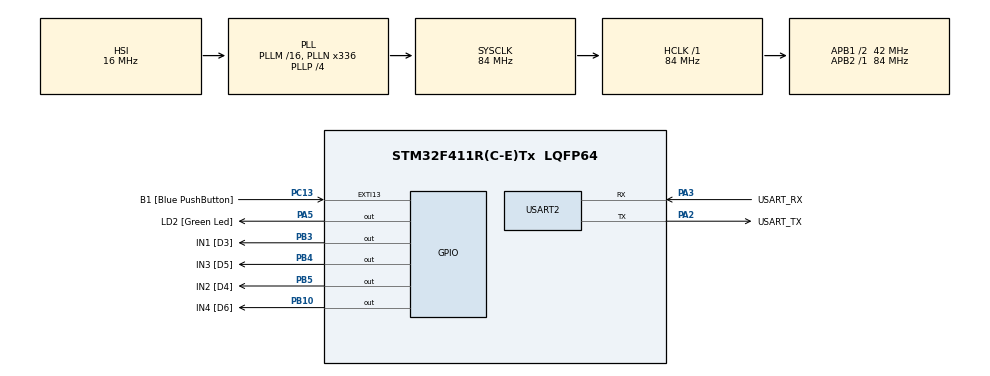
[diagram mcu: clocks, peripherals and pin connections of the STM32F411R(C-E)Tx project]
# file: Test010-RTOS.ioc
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FREERTOS.Tasks01=myTask01,0,128,StartmyTask01,Default,NULL,Dynamic,NULL,NULL;myTask02,-3,128,StartmyTask02,Default,NULL,Dynamic,NULL,NULL
FREERTOS.configUSE_NEWLIB_REENTRANT=1
Mcu.Family=STM32F4
Mcu.Name=STM32F411R(C-E)Tx
Mcu.Package=LQFP64
NVIC.EXTI15_10_IRQn=true\:5\:0\:false\:false\:true\:true\:true\:true\:true
NVIC.PriorityGroup=NVIC_PRIORITYGROUP_4
NVIC.TIM1_UP_TIM10_IRQn=true\:15\:0\:false\:false\:true\:false\:false\:true\:true
NVIC.TimeBase=TIM1_UP_TIM10_IRQn
NVIC.TimeBaseIP=TIM10
PA13.GPIO_Label=TMS
PA13.Mode=Serial_Wire
PA13.Signal=SYS_JTMS-SWDIO
PA14.GPIO_Label=TCK
PA14.Mode=Serial_Wire
PA14.Signal=SYS_JTCK-SWCLK
PA2.GPIO_Label=USART_TX
PA2.Mode=Asynchronous
PA2.Signal=USART2_TX
PA3.GPIO_Label=USART_RX
PA3.Mode=Asynchronous
PA3.Signal=USART2_RX
PA5.GPIO_Label=LD2 [Green Led]
PA5.Signal=GPIO_Output
PB10.GPIO_Label=IN4 [D6]
PB10.Signal=GPIO_Output
PB3.GPIO_Label=IN1 [D3]
PB3.Signal=GPIO_Output
PB4.GPIO_Label=IN3 [D5]
PB4.Signal=GPIO_Output
PB5.GPIO_Label=IN2 [D4]
PB5.Signal=GPIO_Output
PC13-ANTI_TAMP.GPIO_Label=B1 [Blue PushButton]
PC13-ANTI_TAMP.GPIO_ModeDefaultEXTI=GPIO_MODE_IT_FALLING
PC13-ANTI_TAMP.Signal=GPXTI13
PC14-OSC32_IN.Mode=LSE-External-Oscillator
PC14-OSC32_IN.Signal=RCC_OSC32_IN
PC15-OSC32_OUT.Mode=LSE-External-Oscillator
PC15-OSC32_OUT.Signal=RCC_OSC32_OUT
PH0\ -\ OSC_IN.Mode=HSE-External-Clock-Source
PH0\ -\ OSC_IN.Signal=RCC_OSC_IN
PH1\ -\ OSC_OUT.Mode=HSE-External-Clock-Source
PH1\ -\ OSC_OUT.Signal=RCC_OSC_OUT
ProjectManager.HeapSize=0x200
ProjectManager.StackSize=0x400
ProjectManager.TargetToolchain=STM32CubeIDE
RCC.48MHZClocksFreq_Value=84000000
RCC.AHBFreq_Value=84000000
RCC.APB1CLKDivider=RCC_HCLK_DIV2
RCC.APB1Freq_Value=42000000
RCC.APB1TimFreq_Value=84000000
RCC.APB2Freq_Value=84000000
RCC.APB2TimFreq_Value=84000000
RCC.CortexFreq_Value=84000000
RCC.FLatency-AdvancedSettings=FLASH_LATENCY_2
RCC.HCLKFreq_Value=84000000
RCC.HSE_VALUE=8000000
RCC.HSI_VALUE=16000000
RCC.PLLN=336
RCC.PLLP=RCC_PLLP_DIV4
RCC.SYSCLKFreq_VALUE=84000000
RCC.SYSCLKSource=RCC_SYSCLKSOURCE_PLLCLK
RCC.VCOOutputFreq_Value=336000000
USART2.VirtualMode=VM_ASYNC
VP_FREERTOS_VS_CMSIS_V1.Mode=CMSIS_V1
VP_SYS_VS_tim10.Mode=TIM10
board=NUCLEO-F411RE

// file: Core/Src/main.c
/* USER CODE BEGIN Header */
/**
  ******************************************************************************
  * @file           : main.c
  * @brief          : Main program body
  ******************************************************************************
  * @attention
  *
  * Copyright (c) 2025 STMicroelectronics.
  * All rights reserved.
  *
  * This software is licensed under terms that can be found in the LICENSE file
  * in the root directory of this software component.
  * If no LICENSE file comes with this software, it is provided AS-IS.
  *
  ******************************************************************************
  */
/* USER CODE END Header */
#include "main.h"
#include "cmsis_os.h"

/* USER CODE BEGIN Includes */
#include <stdio.h>
/* USER CODE END Includes */

UART_HandleTypeDef huart2;

osThreadId myTask01Handle;
osThreadId myTask02Handle;

void SystemClock_Config(void);
static void MX_GPIO_Init(void);
static void MX_USART2_UART_Init(void);
void StartmyTask01(void const * argument);
void StartmyTask02(void const * argument);

/* USER CODE BEGIN 0 */
void LD2Test()
{
	HAL_GPIO_TogglePin(LD2_GPIO_Port, LD2_Pin);
	// void HAL_GPIO_TogglePin(GPIO_TypeDef* GPIOx, uint16_t GPIO_Pin)
}

volatile int degree = 0;
volatile int mode = 0;
int step = 0;
int i = 0;
// volatile int bn = 0;
// volatile int mode = 0; // [Status] mode = 0 : Release, mode = 1 : Pressed
// volatile int t1 = 0;
// External Interrupt ISR (Interrupt Service Routine)
void HAL_GPIO_EXTI_Callback(uint16_t GPIO_Pin)
// void HAL_GPIO_EXTI_Callback(uint16_t GPIO_Pin);
{
	// printf("B1 BTN pressed... %d times", bn);
	if (GPIO_Pin == B1_Pin)
	{
		degree = 45;
		if (degree > 360) degree = 0;
		mode = 1;
	}
}

void Step_Wave(int Step)
{
	// *** Wave Mode *** //
	// At each time, only one Output High
	switch(Step)
	{
	case 1 : // 1st Step
		HAL_GPIO_WritePin(IN1_GPIO_Port, IN1_Pin, 1); // D3
		HAL_GPIO_WritePin(IN2_GPIO_Port, IN2_Pin, 0); // D4
		HAL_GPIO_WritePin(IN3_GPIO_Port, IN3_Pin, 0); // D5
		HAL_GPIO_WritePin(IN4_GPIO_Port, IN4_Pin, 0); // D6
		// HAL_Delay(2);
		break;
	case 2 : // 2nd Step
		HAL_GPIO_WritePin(IN1_GPIO_Port, IN1_Pin, 0); // D3
		HAL_GPIO_WritePin(IN2_GPIO_Port, IN2_Pin, 1); // D4
		HAL_GPIO_WritePin(IN3_GPIO_Port, IN3_Pin, 0); // D5
		HAL_GPIO_WritePin(IN4_GPIO_Port, IN4_Pin, 0); // D6
		// HAL_Delay(2);
		break;
	case 3 : // 3rd Step
		HAL_GPIO_WritePin(IN1_GPIO_Port, IN1_Pin, 0); // D3
		HAL_GPIO_WritePin(IN2_GPIO_Port, IN2_Pin, 0); // D4
		HAL_GPIO_WritePin(IN3_GPIO_Port, IN3_Pin, 1); // D5
		HAL_GPIO_WritePin(IN4_GPIO_Port, IN4_Pin, 0); // D6
		// HAL_Delay(2);
		break;
	case 4 : // 4th Step
		HAL_GPIO_WritePin(IN1_GPIO_Port, IN1_Pin, 0); // D3
		HAL_GPIO_WritePin(IN2_GPIO_Port, IN2_Pin, 0); // D4
		HAL_GPIO_WritePin(IN3_GPIO_Port, IN3_Pin, 0); // D5
		HAL_GPIO_WritePin(IN4_GPIO_Port, IN4_Pin, 1); // D6
		// HAL_Delay(2);
		break;
	}
	// *** Wave Mode *** //
} // void Step_Wave()

/* USER CODE END 0 */

int main(void)
{

  /* MCU Configuration--------------------------------------------------------*/

  /* Reset of all peripherals, Initializes the Flash interface and the Systick. */
  HAL_Init();

  /* Configure the system clock */
  SystemClock_Config();

  /* Initialize all configured peripherals */
  MX_GPIO_Init();
  MX_USART2_UART_Init();

  /* Create the thread(s) */
  /* definition and creation of myTask01 */
  osThreadDef(myTask01, StartmyTask01, osPriorityNormal, 0, 128);
  myTask01Handle = osThreadCreate(osThread(myTask01), NULL);

  /* definition and creation of myTask02 */
  osThreadDef(myTask02, StartmyTask02, osPriorityIdle, 0, 128);
  myTask02Handle = osThreadCreate(osThread(myTask02), NULL);

  /* USER CODE BEGIN RTOS_THREADS */
  /* add threads, ... */
  ProgramStart( "FREERTOS Test...");

  /* USER CODE END RTOS_THREADS */

  /* Start scheduler */
  osKernelStart();

  /* We should never get here as control is now taken by the scheduler */
  /* Infinite loop */
  /* USER CODE BEGIN WHILE */
  while (1)
  {
	  // LD2Test();
	  // osDelay(500);
    /* USER CODE END WHILE */

  }
}

void SystemClock_Config(void)
{
  RCC_OscInitTypeDef RCC_OscInitStruct = {0};
  RCC_ClkInitTypeDef RCC_ClkInitStruct = {0};

  /** Configure the main internal regulator output voltage
  */
  __HAL_RCC_PWR_CLK_ENABLE();
  __HAL_PWR_VOLTAGESCALING_CONFIG(PWR_REGULATOR_VOLTAGE_SCALE1);

  /** Initializes the RCC Oscillators according to the specified parameters
  * in the RCC_OscInitTypeDef structure.
  */
  RCC_OscInitStruct.OscillatorType = RCC_OSCILLATORTYPE_HSI;
  RCC_OscInitStruct.HSIState = RCC_HSI_ON;
  RCC_OscInitStruct.HSICalibrationValue = RCC_HSICALIBRATION_DEFAULT;
  RCC_OscInitStruct.PLL.PLLState = RCC_PLL_ON;
  RCC_OscInitStruct.PLL.PLLSource = RCC_PLLSOURCE_HSI;
  RCC_OscInitStruct.PLL.PLLM = 16;
  RCC_OscInitStruct.PLL.PLLN = 336;
  RCC_OscInitStruct.PLL.PLLP = RCC_PLLP_DIV4;
  RCC_OscInitStruct.PLL.PLLQ = 4;
  if (HAL_RCC_OscConfig(&RCC_OscInitStruct) != HAL_OK)
  {
    Error_Handler();
  }

  /** Initializes the CPU, AHB and APB buses clocks
  */
  RCC_ClkInitStruct.ClockType = RCC_CLOCKTYPE_HCLK|RCC_CLOCKTYPE_SYSCLK
                              |RCC_CLOCKTYPE_PCLK1|RCC_CLOCKTYPE_PCLK2;
  RCC_ClkInitStruct.SYSCLKSource = RCC_SYSCLKSOURCE_PLLCLK;
  RCC_ClkInitStruct.AHBCLKDivider = RCC_SYSCLK_DIV1;
  RCC_ClkInitStruct.APB1CLKDivider = RCC_HCLK_DIV2;
  RCC_ClkInitStruct.APB2CLKDivider = RCC_HCLK_DIV1;

  if (HAL_RCC_ClockConfig(&RCC_ClkInitStruct, FLASH_LATENCY_2) != HAL_OK)
  {
    Error_Handler();
  }
}

static void MX_USART2_UART_Init(void)
{

  huart2.Instance = USART2;
  huart2.Init.BaudRate = 115200;
  huart2.Init.WordLength = UART_WORDLENGTH_8B;
  huart2.Init.StopBits = UART_STOPBITS_1;
  huart2.Init.Parity = UART_PARITY_NONE;
  huart2.Init.Mode = UART_MODE_TX_RX;
  huart2.Init.HwFlowCtl = UART_HWCONTROL_NONE;
  huart2.Init.OverSampling = UART_OVERSAMPLING_16;
  if (HAL_UART_Init(&huart2) != HAL_OK)
  {
    Error_Handler();
  }

}

static void MX_GPIO_Init(void)
{
  GPIO_InitTypeDef GPIO_InitStruct = {0};

  /* GPIO Ports Clock Enable */
  __HAL_RCC_GPIOC_CLK_ENABLE();
  __HAL_RCC_GPIOH_CLK_ENABLE();
  __HAL_RCC_GPIOA_CLK_ENABLE();
  __HAL_RCC_GPIOB_CLK_ENABLE();

  /*Configure GPIO pin Output Level */
  HAL_GPIO_WritePin(LD2_GPIO_Port, LD2_Pin, GPIO_PIN_RESET);

  /*Configure GPIO pin Output Level */
  HAL_GPIO_WritePin(GPIOB, IN4_Pin|IN1_Pin|IN3_Pin|IN2_Pin, GPIO_PIN_RESET);

  /*Configure GPIO pin : B1_Pin */
  GPIO_InitStruct.Pin = B1_Pin;
  GPIO_InitStruct.Mode = GPIO_MODE_IT_FALLING;
  GPIO_InitStruct.Pull = GPIO_NOPULL;
  HAL_GPIO_Init(B1_GPIO_Port, &GPIO_InitStruct);

  /*Configure GPIO pin : LD2_Pin */
  GPIO_InitStruct.Pin = LD2_Pin;
  GPIO_InitStruct.Mode = GPIO_MODE_OUTPUT_PP;
  GPIO_InitStruct.Pull = GPIO_NOPULL;
  GPIO_InitStruct.Speed = GPIO_SPEED_FREQ_LOW;
  HAL_GPIO_Init(LD2_GPIO_Port, &GPIO_InitStruct);

  /*Configure GPIO pins : IN4_Pin IN1_Pin IN3_Pin IN2_Pin */
  GPIO_InitStruct.Pin = IN4_Pin|IN1_Pin|IN3_Pin|IN2_Pin;
  GPIO_InitStruct.Mode = GPIO_MODE_OUTPUT_PP;
  GPIO_InitStruct.Pull = GPIO_NOPULL;
  GPIO_InitStruct.Speed = GPIO_SPEED_FREQ_LOW;
  HAL_GPIO_Init(GPIOB, &GPIO_InitStruct);

  /* EXTI interrupt init*/
  HAL_NVIC_SetPriority(EXTI15_10_IRQn, 5, 0);
  HAL_NVIC_EnableIRQ(EXTI15_10_IRQn);

}

void StartmyTask01(void const * argument)
{
  /* USER CODE BEGIN 5 */
	int n1 = 0;
  /* Infinite loop */
  for(;;)
  {
	  LD2Test();
	  Cursor(0, 0);
	  printf("LD2 Flashed %d times (Task01)", n1);
	  // printf(" LD2 Flashed %d times (Task01) \r\n ", n1);
	  n1++;
	  // HAL_Delay(500); // HW Delay
	  osDelay(500); // Task Shift
  }
  /* USER CODE END 5 */
}

/* USER CODE BEGIN Header_StartmyTask02 */
/**
* @brief Function implementing the myTask02 thread.
* @param argument: Not used
* @retval None
*/
// int n2 = 0;
/* USER CODE END Header_StartmyTask02 */
void StartmyTask02(void const * argument)
{
  /* USER CODE BEGIN StartmyTask02 */
  /* Infinite loop */
// int t1 = 0;
  for(;;)
  {
	  // int degree;
	  // LD2Test();
	  /*
	  if ( mode )
	  {
		  printf("B1 BTN pressed... %d times \r\n ", bn);
		  if (t1 > 1000) { mode = 0; t1 = 0; } // Time-out (1 sec?)
		  t1++;
	  }
	  else
		  printf("                                                                                       ");
	   */
	  // n2++;
	  // printf("Task02 is executed %d times (Task02) \r\n", n2);
	  // printf("Input Degree : ");
	  // scanf( "%d", &degree );

	  step = (4096 * degree) / 360; // [Wave-mode] (IN) Target Rotation Degree > (OUT) Required Step Number
	  Cursor(0, 10);

	  // printf("Wave(Full)-mode : %d steps, Half-mode : %d steps ", (step/2), step );

	  if (mode)
	  {
		  Step_Wave( (i % 4) + 1 );
		  i++;

		  if (i > 255) // 45 Degree > 256 Steps
		  {
			  i = 0; mode = 0;
			  // degree = 0;
		  }
	  }

	  osDelay(5); // Task Shift
  }
  /* USER CODE END StartmyTask02 */
}

void HAL_TIM_PeriodElapsedCallback(TIM_HandleTypeDef *htim)
{
  if (htim->Instance == TIM10) {
    HAL_IncTick();
  }
}

void Error_Handler(void)
{
  __disable_irq();
  while (1)
  {
  }
}
